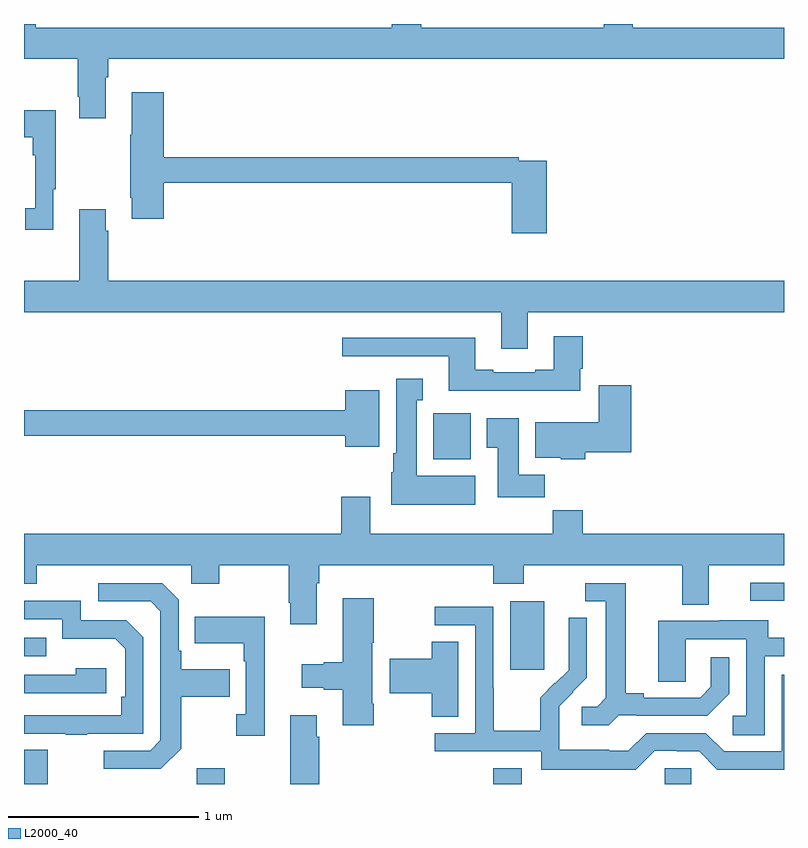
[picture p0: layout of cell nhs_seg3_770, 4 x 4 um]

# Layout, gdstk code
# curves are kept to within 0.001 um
import gdstk
lib = gdstk.Library(unit=1e-6, precision=1e-09)
def R(c, l, rs):  # rectangles x0, y0, x1, y1
    for r in rs: c.add(gdstk.rectangle(r[:2], r[2:], *l))
def P(c, l, *ps):  # polygons
    for p in ps: c.add(gdstk.Polygon(p, *l))
L2000_40 = (2000, 40)

nhs_seg3_770 = lib.new_cell('nhs_seg3_770')
R(nhs_seg3_770, L2000_40, [(149,730.4,149.125,730.579), (149.909,730.4,150.057,730.483), (151.469,730.4,151.621,730.483), (152.373,730.4,152.511,730.482), (151.559,731.001,151.738,731.362), (149,731.073,149.117,731.169), (152.823,731.364,153,731.46), (151.154,732.11,151.351,732.352)])
P(nhs_seg3_770, L2000_40, [(149.431,734.12),(149.444,734.12),(149.444,734.216),(153,734.216),(153,734.38),(152.204,734.38),(152.204,734.4),(152.051,734.4),(152.051,734.38),(151.091,734.38),(151.091,734.4),(150.935,734.4),(150.935,734.38),(149.062,734.38),(149.062,734.4),(149,734.4),(149,734.216),(149.284,734.216),(149.284,734.017),(149.291,734.017),(149.291,733.905),(149.431,733.905)],
  [(151.751,733.68),(151.604,733.68),(151.604,733.7),(149.735,733.7),(149.735,734.041),(149.567,734.041),(149.567,733.817),(149.56,733.817),(149.56,733.486),(149.567,733.486),(149.567,733.374),(149.735,733.374),(149.735,733.564),(151.568,733.564),(151.568,733.299),(151.751,733.299)],
  [(149.155,733.529),(149.167,733.529),(149.167,733.945),(149,733.945),(149,733.805),(149.046,733.805),(149.046,733.709),(149.058,733.709),(149.058,733.43),(149.007,733.43),(149.007,733.317),(149.155,733.317)],
  [(151.651,732.884),(153,732.884),(153,733.048),(149.444,733.048),(149.444,733.313),(149.431,733.313),(149.431,733.426),(149.291,733.426),(149.291,733.048),(149,733.048),(149,732.884),(151.511,732.884),(151.511,732.69),(151.651,732.69)],
  [(151.927,732.586),(151.94,732.586),(151.94,732.757),(151.787,732.757),(151.787,732.58),(151.691,732.58),(151.691,732.567),(151.471,732.567),(151.471,732.58),(151.375,732.58),(151.375,732.748),(150.675,732.748),(150.675,732.651),(151.235,732.651),(151.235,732.47),(151.927,732.47)],
  [(151.375,732.022),(151.066,732.022),(151.066,732.419),(151.099,732.419),(151.099,732.532),(150.959,732.532),(150.959,732.142),(150.944,732.142),(150.944,732.042),(150.932,732.042),(150.932,731.87),(151.375,731.87)],
  [(151.955,732.146),(152.195,732.146),(152.195,732.499),(152.024,732.499),(152.024,732.304),(151.691,732.304),(151.691,732.116),(151.824,732.116),(151.824,732.11),(151.955,732.11)],
  [(150.871,732.472),(150.692,732.472),(150.692,732.368),(149,732.368),(149,732.232),(150.692,732.232),(150.692,732.176),(150.871,732.176)],
  [(151.742,732.028),(151.603,732.028),(151.603,732.325),(151.436,732.325),(151.436,732.169),(151.493,732.169),(151.493,731.91),(151.742,731.91)],
  [(150.541,731.456),(150.554,731.456),(150.554,731.552),(151.469,731.552),(151.469,731.453),(151.629,731.453),(151.629,731.552),(152.465,731.552),(152.465,731.344),(152.605,731.344),(152.605,731.552),(153,731.552),(153,731.716),(151.94,731.716),(151.94,731.84),(151.783,731.84),(151.783,731.716),(150.823,731.716),(150.823,731.911),(150.671,731.911),(150.671,731.716),(149,731.716),(149,731.453),(149.067,731.453),(149.067,731.552),(149.88,731.552),(149.88,731.453),(150.027,731.453),(150.027,731.552),(150.394,731.552),(150.394,731.353),(150.401,731.353),(150.401,731.241),(150.541,731.241)],
  [(152.13,730.761),(152.224,730.761),(152.224,730.758),(152.596,730.758),(152.712,730.874),(152.712,731.068),(152.615,731.068),(152.615,730.911),(152.558,730.854),(152.263,730.854),(152.263,730.877),(152.167,730.877),(152.167,731.457),(151.953,731.457),(151.953,731.361),(152.063,731.361),(152.063,730.853),(152.016,730.806),(151.935,730.806),(151.935,730.709),(152.078,730.709)],
  [(149.827,730.585),(149.827,730.858),(150.083,730.858),(150.083,731.005),(149.827,731.005),(149.827,731.101),(149.814,731.101),(149.814,731.37),(149.727,731.457),(149.391,731.457),(149.391,731.361),(149.667,731.361),(149.718,731.31),(149.718,730.629),(149.664,730.575),(149.421,730.575),(149.421,730.479),(149.721,730.479)],
  [(150.84,730.822),(150.832,730.822),(150.832,731.143),(150.84,731.143),(150.84,731.377),(150.677,731.377),(150.677,731.042),(150.578,731.042),(150.578,731.029),(150.462,731.029),(150.462,730.907),(150.578,730.907),(150.578,730.895),(150.677,730.895),(150.677,730.71),(150.84,730.71)],
  [(149.333,730.665),(149.628,730.665),(149.628,731.172),(149.538,731.262),(149.298,731.262),(149.298,731.364),(149,731.364),(149,731.268),(149.202,731.268),(149.202,731.165),(149.479,731.165),(149.532,731.112),(149.532,730.858),(149.512,730.858),(149.512,730.761),(149,730.761),(149,730.665),(149.221,730.665),(149.221,730.66),(149.333,730.66)],
  [(152.319,730.575),(152.435,730.575),(152.435,730.572),(152.553,730.572),(152.649,730.476),(153,730.476),(153,730.974),(152.988,730.974),(152.988,730.572),(152.685,730.572),(152.589,730.668),(152.274,730.668),(152.181,730.575),(152.081,730.575),(152.081,730.579),(151.818,730.579),(151.818,730.713),(151.816,730.713),(151.816,730.81),(151.962,730.958),(151.962,731.276),(151.866,731.276),(151.866,731.122),(151.868,731.122),(151.868,731),(151.797,730.929),(151.794,730.932),(151.717,730.855),(151.717,730.681),(151.473,730.681),(151.473,730.904),(151.47,730.904),(151.47,731.334),(151.161,731.334),(151.161,731.235),(151.374,731.235),(151.374,730.668),(151.161,730.668),(151.161,730.572),(151.722,730.572),(151.722,730.475),(152.219,730.475)],
  [(150.266,731.281),(149.899,731.281),(149.899,731.141),(150.156,731.141),(150.156,731.045),(150.168,731.045),(150.168,730.766),(150.117,730.766),(150.117,730.653),(150.266,730.653)],
  [(152.898,731.073),(153,731.073),(153,731.169),(152.917,731.169),(152.917,731.263),(152.663,731.263),(152.663,731.259),(152.339,731.259),(152.339,730.939),(152.484,730.939),(152.484,731.163),(152.802,731.163),(152.802,730.758),(152.73,730.758),(152.73,730.657),(152.898,730.657)],
  [(151.285,731.15),(151.147,731.15),(151.147,731.06),(150.924,731.06),(150.924,730.877),(151.147,730.877),(151.147,730.753),(151.285,730.753)],
  [(149.434,731.008),(149.273,731.008),(149.273,730.974),(149,730.974),(149,730.878),(149.434,730.878)],
  [(150.554,730.649),(150.541,730.649),(150.541,730.762),(150.401,730.762),(150.401,730.4),(150.554,730.4)])

lib.write_gds('nhs_seg3_770.gds')
